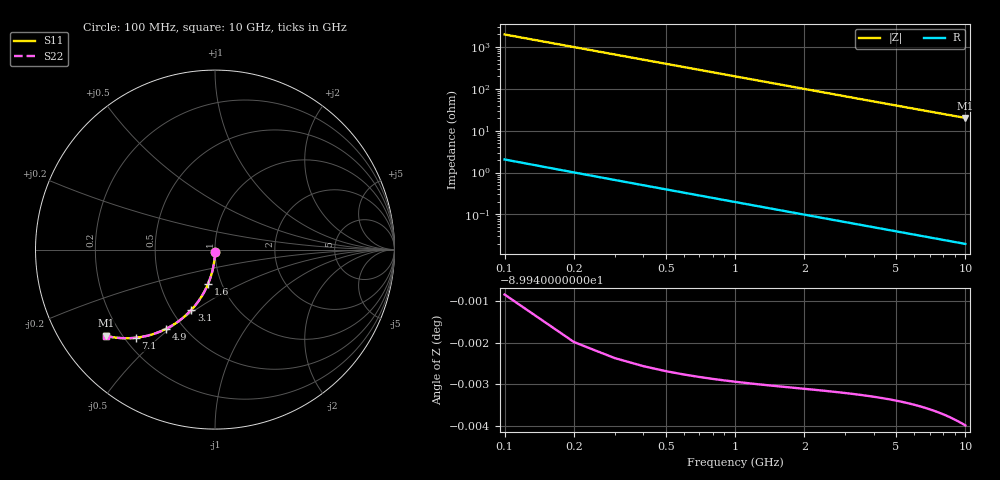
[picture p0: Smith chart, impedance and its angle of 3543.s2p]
# Hz S RI R 50.00
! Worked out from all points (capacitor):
!   100 points, 100 MHz to 10 GHz, reference 50 ohm
!   read as one part in shunt: C = 799 fF near 100 MHz
!   lowest |Z| = 20.2 ohm at 10 GHz (marker M1)
!   S11 on the Smith chart (normalised r, x): 100 MHz: 1.00, -0.02; 1.6 GHz: 0.86, -0.34; 3.1 GHz: 0.63, -0.48; 4.9 GHz: 0.40, -0.49; 7.1 GHz: 0.24, -0.42; 10 GHz: 0.14, -0.34
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1e8  -0.000157 -0.0125  0.9998 -0.0126  0.9998 -0.0126  -0.000157 -0.0125
2e8  -0.000642 -0.025  0.9993 -0.0252  0.9993 -0.0252  -0.000642 -0.025
3e8  -0.00144 -0.0374  0.9985 -0.0378  0.9985 -0.0378  -0.00144 -0.0374
4e8  -0.00255 -0.0498  0.9974 -0.0504  0.9974 -0.0504  -0.00255 -0.0498
5e8  -0.00397 -0.0622  0.996 -0.0629  0.996 -0.0629  -0.00397 -0.0622
6e8  -0.0057 -0.0745  0.9943 -0.0753  0.9943 -0.0753  -0.0057 -0.0745
7e8  -0.00773 -0.0867  0.9922 -0.0877  0.9922 -0.0877  -0.00773 -0.0867
9e8  -0.0127 -0.1109  0.9873 -0.1121  0.9873 -0.1121  -0.0127 -0.1109
1.2e9  -0.0223 -0.1464  0.9777 -0.148  0.9777 -0.148  -0.0223 -0.1464
1.6e9  -0.0389 -0.1918  0.9611 -0.194  0.9611 -0.194  -0.0389 -0.1918
1.8e9  -0.0487 -0.2135  0.9513 -0.216  0.9513 -0.216  -0.0487 -0.2135
2.4e9  -0.0832 -0.2741  0.9167 -0.2774  0.9167 -0.2774  -0.0832 -0.2741
3.1e9  -0.1313 -0.3351  0.8687 -0.3394  0.8687 -0.3394  -0.1313 -0.3351
3.4e9  -0.1537 -0.3579  0.8462 -0.3626  0.8462 -0.3626  -0.1537 -0.3579
4.1e9  -0.2087 -0.403  0.7913 -0.4087  0.7913 -0.4087  -0.2087 -0.403
4.9e9  -0.2732 -0.4417  0.7267 -0.4486  0.7267 -0.4486  -0.2732 -0.4417
5.1e9  -0.2893 -0.4494  0.7106 -0.4565  0.7106 -0.4565  -0.2893 -0.4494
5.9e9  -0.3523 -0.4731  0.6476 -0.4813  0.6476 -0.4813  -0.3523 -0.4731
6.7e9  -0.412 -0.487  0.588 -0.4964  0.588 -0.4964  -0.412 -0.487
7.1e9  -0.4401 -0.4909  0.5598 -0.5009  0.5598 -0.5009  -0.4401 -0.4909
8.4e9  -0.5235 -0.493  0.4764 -0.5049  0.4764 -0.5049  -0.5235 -0.493
1e10  -0.6085 -0.4804  0.3914 -0.4947  0.3914 -0.4947  -0.6085 -0.4804
